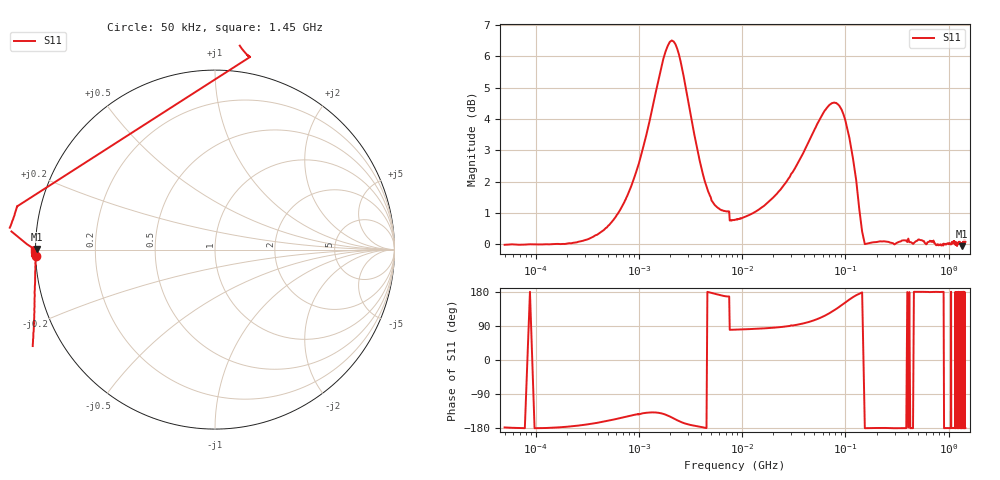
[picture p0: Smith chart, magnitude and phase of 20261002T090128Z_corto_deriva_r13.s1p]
! piloto_deriva / corto_deriva / r13
# HZ S RI R 50
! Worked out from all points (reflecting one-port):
!   501 points, 50 kHz to 1.45 GHz, reference 50 ohm
!   lowest |S11| = -0.1 dB at 1.333 GHz (marker M1), VSWR 283.01, Z = 0.177 + j0.0942 ohm
!   phase of S11 starts at -178 deg and turns -2 deg over the sweep
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50000  -0.9973 -0.0368
183000  -0.9998 -0.0516
363500  -1.004 -0.2245
658000  -1.014 -0.5098
1180000  -1.134 -0.9752
1630000  -1.469 -1.211
1990000  -1.804 -1.082
2170000  -1.897 -0.9171
2440000  -1.901 -0.6481
3070000  -1.634 -0.271
4330000  -1.262 -0.029
7300000  -1.102 0.2419
7750000  0.194 1.074
8560000  0.1871 1.078
1.99e7  0.1014 1.182
3.16e7  -0.0341 1.312
4.69e7  -0.3232 1.454
6.76e7  -0.861 1.418
7.93e7  -1.139 1.237
9.37e7  -1.355 0.9001
9.82e7  -1.384 0.7827
1e8  -1.389 0.7392
1.18e8  -1.331 0.338
1.36e8  -1.134 0.101
1.63e8  -1.003 -0.00399
4.06e8  -1.02 -0.0364
1.333e9  -0.993 0.00374
1.45e9  -1.01 -0.00476
